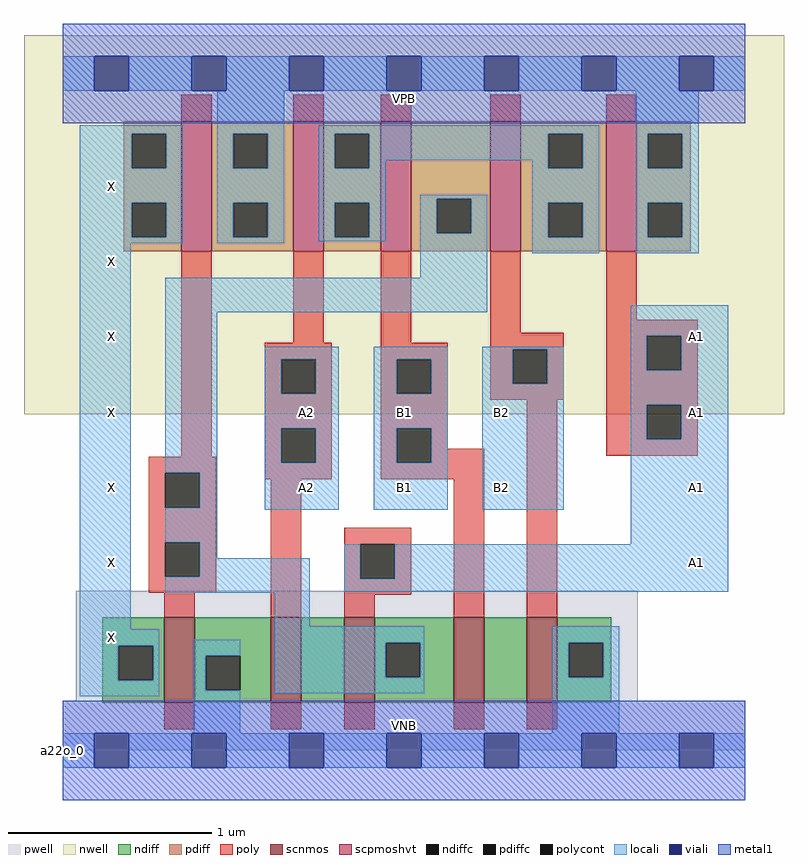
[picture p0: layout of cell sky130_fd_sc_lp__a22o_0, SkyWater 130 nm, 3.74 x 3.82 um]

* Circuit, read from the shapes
.subckt sky130_fd_sc_lp__a22o_0 A1 A2 B1 B2 VGND VNB VPB VPWR X
XM1 VGND n1 X VNB sky130_fd_pr__nfet_01v8 w=0.42 l=0.15
XM2 n2 A2 VGND VNB sky130_fd_pr__nfet_01v8 w=0.42 l=0.15
XM3 n1 A1 n2 VNB sky130_fd_pr__nfet_01v8 w=0.42 l=0.15
XM4 n3 B1 n1 VNB sky130_fd_pr__nfet_01v8 w=0.42 l=0.15
XM5 VGND B2 n3 VNB sky130_fd_pr__nfet_01v8 w=0.42 l=0.15
XM6 VPWR n1 X VPB sky130_fd_pr__pfet_01v8_hvt w=0.64 l=0.15
XM7 n4 A2 VPWR VPB sky130_fd_pr__pfet_01v8_hvt w=0.64 l=0.15
XM8 n1 B1 n4 VPB sky130_fd_pr__pfet_01v8_hvt w=0.64 l=0.15
XM9 n4 B2 n1 VPB sky130_fd_pr__pfet_01v8_hvt w=0.64 l=0.15
XM10 VPWR A1 n4 VPB sky130_fd_pr__pfet_01v8_hvt w=0.64 l=0.15
.ends

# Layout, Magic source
magic
tech sky130A
magscale 1 2
<< nwell >>
rect -38 331 710 704
<< pwell >>
rect 13 49 566 157
rect 0 0 672 49
<< scnmos >>
rect 100 47 130 131
rect 205 47 235 131
rect 277 47 307 131
rect 385 47 415 131
rect 457 47 487 131
<< scpmoshvt >>
rect 117 491 147 619
rect 227 491 257 619
rect 313 491 343 619
rect 421 491 451 619
rect 535 491 565 619
<< ndiff >>
rect 39 103 100 131
rect 39 69 55 103
rect 89 69 100 103
rect 39 47 100 69
rect 130 93 205 131
rect 130 59 141 93
rect 175 59 205 93
rect 130 47 205 59
rect 235 47 277 131
rect 307 106 385 131
rect 307 72 318 106
rect 352 72 385 106
rect 307 47 385 72
rect 415 47 457 131
rect 487 106 540 131
rect 487 72 498 106
rect 532 72 540 106
rect 487 47 540 72
<< pdiff >>
rect 60 607 117 619
rect 60 573 68 607
rect 102 573 117 607
rect 60 539 117 573
rect 60 505 68 539
rect 102 505 117 539
rect 60 491 117 505
rect 147 607 227 619
rect 147 573 168 607
rect 202 573 227 607
rect 147 539 227 573
rect 147 505 168 539
rect 202 505 227 539
rect 147 491 227 505
rect 257 607 313 619
rect 257 573 268 607
rect 302 573 313 607
rect 257 539 313 573
rect 257 505 268 539
rect 302 505 313 539
rect 257 491 313 505
rect 343 543 421 619
rect 343 509 368 543
rect 402 509 421 543
rect 343 491 421 509
rect 451 607 535 619
rect 451 573 478 607
rect 512 573 535 607
rect 451 539 535 573
rect 451 505 478 539
rect 512 505 535 539
rect 451 491 535 505
rect 565 607 618 619
rect 565 573 576 607
rect 610 573 618 607
rect 565 539 618 573
rect 565 505 576 539
rect 610 505 618 539
rect 565 491 618 505
<< ndiffc >>
rect 55 69 89 103
rect 141 59 175 93
rect 318 72 352 106
rect 498 72 532 106
<< pdiffc >>
rect 68 573 102 607
rect 68 505 102 539
rect 168 573 202 607
rect 168 505 202 539
rect 268 573 302 607
rect 268 505 302 539
rect 368 509 402 543
rect 478 573 512 607
rect 478 505 512 539
rect 576 573 610 607
rect 576 505 610 539
<< poly >>
rect 117 619 147 645
rect 227 619 257 645
rect 313 619 343 645
rect 421 619 451 645
rect 535 619 565 645
rect 117 289 147 491
rect 227 401 257 491
rect 313 401 343 491
rect 421 411 451 491
rect 535 424 565 491
rect 199 385 265 401
rect 199 351 215 385
rect 249 351 265 385
rect 199 317 265 351
rect 85 273 151 289
rect 85 239 101 273
rect 135 239 151 273
rect 199 283 215 317
rect 249 283 265 317
rect 199 267 265 283
rect 313 385 379 401
rect 313 351 329 385
rect 363 351 379 385
rect 313 317 379 351
rect 421 395 493 411
rect 421 361 443 395
rect 477 361 493 395
rect 421 345 493 361
rect 535 408 625 424
rect 535 374 575 408
rect 609 374 625 408
rect 313 283 329 317
rect 363 297 379 317
rect 363 283 415 297
rect 313 267 415 283
rect 85 205 151 239
rect 85 171 101 205
rect 135 171 151 205
rect 85 155 151 171
rect 100 131 130 155
rect 205 131 235 267
rect 277 203 343 219
rect 277 169 293 203
rect 327 169 343 203
rect 277 153 343 169
rect 277 131 307 153
rect 385 131 415 267
rect 457 131 487 345
rect 535 340 625 374
rect 535 306 575 340
rect 609 306 625 340
rect 535 290 625 306
rect 100 21 130 47
rect 205 21 235 47
rect 277 21 307 47
rect 385 21 415 47
rect 457 21 487 47
<< polycont >>
rect 215 351 249 385
rect 101 239 135 273
rect 215 283 249 317
rect 329 351 363 385
rect 443 361 477 395
rect 575 374 609 408
rect 329 283 363 317
rect 101 171 135 205
rect 293 169 327 203
rect 575 306 609 340
<< locali >>
rect 0 649 31 683
rect 65 649 127 683
rect 161 649 223 683
rect 257 649 319 683
rect 353 649 415 683
rect 449 649 511 683
rect 545 649 607 683
rect 641 649 672 683
rect 17 607 118 615
rect 17 573 68 607
rect 102 573 118 607
rect 17 539 118 573
rect 17 505 68 539
rect 102 505 118 539
rect 17 499 118 505
rect 152 607 218 649
rect 152 573 168 607
rect 202 573 218 607
rect 152 539 218 573
rect 152 505 168 539
rect 202 505 218 539
rect 152 499 218 505
rect 252 607 528 615
rect 252 573 268 607
rect 302 581 478 607
rect 302 573 318 581
rect 252 539 318 573
rect 462 573 478 581
rect 512 573 528 607
rect 252 505 268 539
rect 302 505 318 539
rect 252 501 318 505
rect 352 543 418 547
rect 352 509 368 543
rect 402 509 418 543
rect 17 119 67 499
rect 352 465 418 509
rect 462 539 528 573
rect 462 505 478 539
rect 512 505 528 539
rect 462 489 528 505
rect 564 607 626 649
rect 564 573 576 607
rect 610 573 626 607
rect 564 539 626 573
rect 564 505 576 539
rect 610 505 626 539
rect 564 489 626 505
rect 101 431 418 465
rect 101 273 152 431
rect 559 408 655 438
rect 135 239 152 273
rect 101 205 152 239
rect 199 385 272 397
rect 199 351 215 385
rect 249 351 272 385
rect 199 317 272 351
rect 199 283 215 317
rect 249 283 272 317
rect 199 237 272 283
rect 306 385 379 397
rect 306 351 329 385
rect 363 351 379 385
rect 306 317 379 351
rect 306 283 329 317
rect 363 283 379 317
rect 306 237 379 283
rect 413 395 493 397
rect 413 361 443 395
rect 477 361 493 395
rect 413 237 493 361
rect 559 374 575 408
rect 609 374 655 408
rect 559 340 655 374
rect 559 306 575 340
rect 609 306 655 340
rect 135 189 152 205
rect 559 203 655 306
rect 135 171 243 189
rect 101 155 243 171
rect 277 169 293 203
rect 327 169 655 203
rect 277 156 655 169
rect 209 122 243 155
rect 17 103 95 119
rect 17 69 55 103
rect 89 69 95 103
rect 17 53 95 69
rect 129 93 175 109
rect 129 59 141 93
rect 129 17 175 59
rect 209 106 356 122
rect 209 72 318 106
rect 352 72 356 106
rect 209 56 356 72
rect 482 106 548 122
rect 482 72 498 106
rect 532 72 548 106
rect 482 17 548 72
rect 0 -17 31 17
rect 65 -17 127 17
rect 161 -17 223 17
rect 257 -17 319 17
rect 353 -17 415 17
rect 449 -17 511 17
rect 545 -17 607 17
rect 641 -17 672 17
<< viali >>
rect 31 649 65 683
rect 127 649 161 683
rect 223 649 257 683
rect 319 649 353 683
rect 415 649 449 683
rect 511 649 545 683
rect 607 649 641 683
rect 31 -17 65 17
rect 127 -17 161 17
rect 223 -17 257 17
rect 319 -17 353 17
rect 415 -17 449 17
rect 511 -17 545 17
rect 607 -17 641 17
<< metal1 >>
rect 0 683 672 715
rect 0 649 31 683
rect 65 649 127 683
rect 161 649 223 683
rect 257 649 319 683
rect 353 649 415 683
rect 449 649 511 683
rect 545 649 607 683
rect 641 649 672 683
rect 0 617 672 649
rect 0 17 672 49
rect 0 -17 31 17
rect 65 -17 127 17
rect 161 -17 223 17
rect 257 -17 319 17
rect 353 -17 415 17
rect 449 -17 511 17
rect 545 -17 607 17
rect 641 -17 672 17
rect 0 -49 672 -17
<< labels >>
flabel pwell s 0 0 672 49 0 FreeSans 200 0 0 0 VNB
port 6 nsew ground bidirectional
flabel nwell s 0 617 672 666 0 FreeSans 200 0 0 0 VPB
port 7 nsew power bidirectional
rlabel comment s 0 0 0 0 4 a22o_0
flabel metal1 s 0 617 672 666 0 FreeSans 340 0 0 0 VPWR
port 8 nsew power bidirectional
flabel metal1 s 0 0 672 49 0 FreeSans 340 0 0 0 VGND
port 5 nsew ground bidirectional
flabel locali s 223 242 257 276 0 FreeSans 340 0 0 0 A2
port 2 nsew signal input
flabel locali s 223 316 257 350 0 FreeSans 340 0 0 0 A2
port 2 nsew signal input
flabel locali s 319 242 353 276 0 FreeSans 340 0 0 0 B1
port 3 nsew signal input
flabel locali s 319 316 353 350 0 FreeSans 340 0 0 0 B1
port 3 nsew signal input
flabel locali s 415 242 449 276 0 FreeSans 340 0 0 0 B2
port 4 nsew signal input
flabel locali s 415 316 449 350 0 FreeSans 340 0 0 0 B2
port 4 nsew signal input
flabel locali s 607 168 641 202 0 FreeSans 340 0 0 0 A1
port 1 nsew signal input
flabel locali s 607 242 641 276 0 FreeSans 340 0 0 0 A1
port 1 nsew signal input
flabel locali s 607 316 641 350 0 FreeSans 340 0 0 0 A1
port 1 nsew signal input
flabel locali s 607 390 641 424 0 FreeSans 340 0 0 0 A1
port 1 nsew signal input
flabel locali s 31 94 65 128 0 FreeSans 340 0 0 0 X
port 9 nsew signal output
flabel locali s 31 168 65 202 0 FreeSans 340 0 0 0 X
port 9 nsew signal output
flabel locali s 31 242 65 276 0 FreeSans 340 0 0 0 X
port 9 nsew signal output
flabel locali s 31 316 65 350 0 FreeSans 340 0 0 0 X
port 9 nsew signal output
flabel locali s 31 390 65 424 0 FreeSans 340 0 0 0 X
port 9 nsew signal output
flabel locali s 31 464 65 498 0 FreeSans 340 0 0 0 X
port 9 nsew signal output
flabel locali s 31 538 65 572 0 FreeSans 340 0 0 0 X
port 9 nsew signal output
<< properties >>
string LEFsite unit
string LEFclass CORE
string FIXED_BBOX 0 0 672 666
string GDS_FILE $PDKPATH/libs.ref/sky130_fd_sc_lp/gds/sky130_fd_sc_lp.gds
string LEFsymmetry X Y R90
string GDS_END 1139082
string GDS_START 1131472
<< end >>
